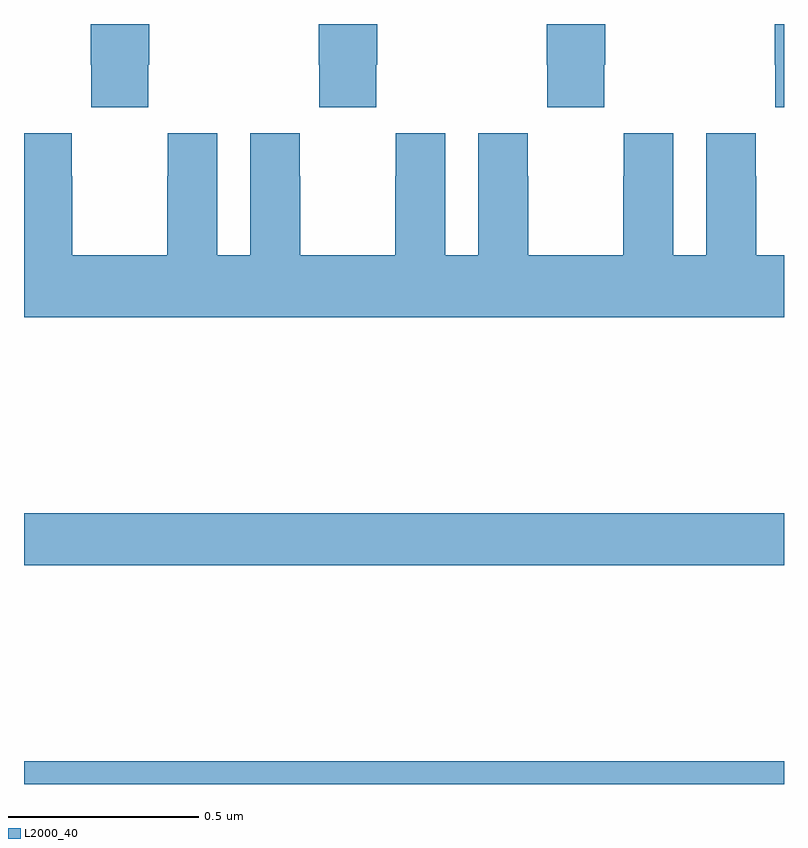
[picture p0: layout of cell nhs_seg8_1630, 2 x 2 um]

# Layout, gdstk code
import gdstk
lib = gdstk.Library(unit=1e-6, precision=1e-09)
def R(c, l, rs):  # rectangles x0, y0, x1, y1
    for r in rs: c.add(gdstk.rectangle(r[:2], r[2:], *l))
def P(c, l, *ps):  # polygons
    for p in ps: c.add(gdstk.Polygon(p, *l))
L2000_40 = (2000, 40)

nhs_seg8_1630 = lib.new_cell('nhs_seg8_1630')
R(nhs_seg8_1630, L2000_40, [(132,1153.9,134,1153.96), (132,1154.476,134,1154.612)])
P(nhs_seg8_1630, L2000_40, [(132.327,1155.793),(132.33,1155.793),(132.33,1155.9),(132.175,1155.9),(132.175,1155.793),(132.177,1155.793),(132.177,1155.681),(132.327,1155.681)],
  [(132.927,1155.793),(132.93,1155.793),(132.93,1155.9),(132.775,1155.9),(132.775,1155.793),(132.777,1155.793),(132.777,1155.681),(132.927,1155.681)],
  [(133.527,1155.793),(133.53,1155.793),(133.53,1155.9),(133.375,1155.9),(133.375,1155.793),(133.377,1155.793),(133.377,1155.681),(133.527,1155.681)],
  [(134,1155.9),(133.975,1155.9),(133.975,1155.793),(133.977,1155.793),(133.977,1155.681),(134,1155.681)],
  [(134,1155.292),(133.927,1155.292),(133.927,1155.5),(133.926,1155.5),(133.926,1155.613),(133.796,1155.613),(133.796,1155.292),(133.708,1155.292),(133.708,1155.613),(133.578,1155.613),(133.578,1155.5),(133.577,1155.5),(133.577,1155.292),(133.327,1155.292),(133.327,1155.5),(133.326,1155.5),(133.326,1155.613),(133.196,1155.613),(133.196,1155.292),(133.108,1155.292),(133.108,1155.613),(132.978,1155.613),(132.978,1155.5),(132.977,1155.5),(132.977,1155.292),(132.727,1155.292),(132.727,1155.5),(132.726,1155.5),(132.726,1155.613),(132.596,1155.613),(132.596,1155.292),(132.508,1155.292),(132.508,1155.613),(132.378,1155.613),(132.378,1155.5),(132.377,1155.5),(132.377,1155.292),(132.127,1155.292),(132.127,1155.5),(132.126,1155.5),(132.126,1155.613),(132,1155.613),(132,1155.128),(134,1155.128)])

lib.write_gds('nhs_seg8_1630.gds')
